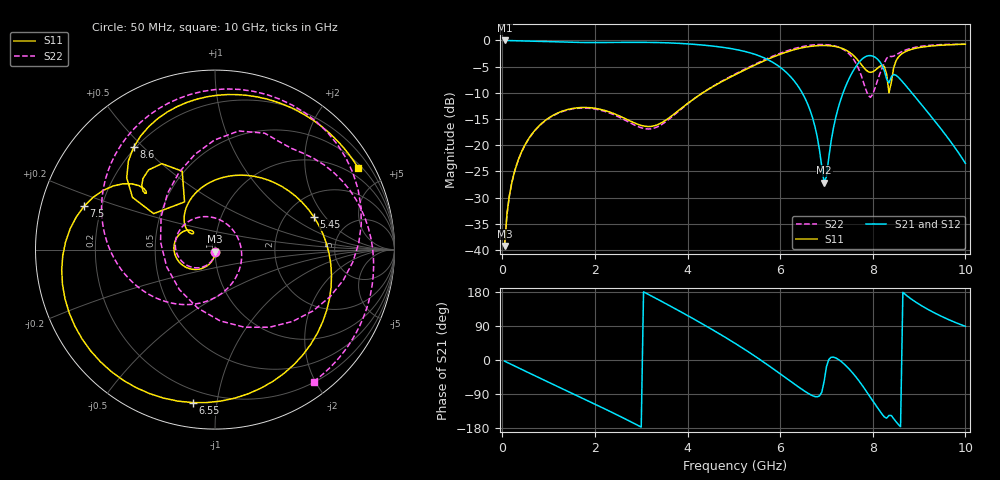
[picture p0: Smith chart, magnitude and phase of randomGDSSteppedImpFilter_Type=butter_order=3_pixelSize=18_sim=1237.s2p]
! freq	dB(S11)	phase(S11)	dB(S12)	phase(S12)
!  dB(S21)	phase(S21)	dB(S22)	phase(S22)
!S-par simulation data
#  GHz  S  DB  R 50
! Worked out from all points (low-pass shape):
!   200 points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, 50 MHz to 10 GHz, reference 50 ohm
!   highest |S21| = -0.02 dB at 50 MHz (marker M1); lowest = -27.1 dB at 6.95 GHz (marker M2)
!   |S21| within 3 dB of the highest: start of sweep to 5.565 GHz; 7.871 GHz to 8.004 GHz (133.2 MHz wide, 1.68 % of centre)
!   lowest |S11| = -39.3 dB at 50 MHz (marker M3), VSWR 1.02, Z = 50.1 - j1.09 ohm
!   |S11| at or under -10 dB: start of sweep to 4.332 GHz; 8.349626 GHz to 8.350665 GHz (1.039 MHz wide, 0.0124 % of centre)
!   |S22| runs from -39.3 to -0.7 dB; largest |S21 - S12| = 0
!   S11 on the Smith chart (normalised r, x): 50 MHz: 1.00, -0.02; 5.45 GHz: 2.82, +1.55; 6.55 GHz: 0.13, -0.86; 7.5 GHz: 0.13, +0.16; 8.6 GHz: 0.19, +0.47; 10 GHz: 0.64, +3.68
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0.05  -39.26 -85.3  -0.02 -3.0  -0.02 -3.0  -39.28 -85.5
0.2  -27.39 -97.3  -0.06 -11.9  -0.06 -11.9  -27.43 -98.4
0.5  -19.80 -116.5  -0.13 -29.6  -0.13 -29.6  -19.86 -119.2
1.75  -12.81 176.3  -0.41 -101.9  -0.41 -101.9  -12.92 160.2
2.65  -14.92 142.7  -0.38 -155.2  -0.38 -155.2  -15.22 86.9
3.4  -15.91 146.1  -0.43 157.3  -0.43 157.3  -16.28 -14.1
4.25  -10.48 119.7  -0.84 100.2  -0.84 100.2  -10.47 -102.1
5.05  -6.45 57.0  -1.75 42.2  -1.75 42.2  -6.33 -155.6
5.45  -4.73 18.4  -2.65 10.5  -2.65 10.5  -4.58 178.9
6  -2.66 -39.2  -5.13 -36.3  -5.13 -36.3  -2.46 140.1
6.55  -1.29 -98.4  -11.29 -83.9  -11.29 -83.9  -1.07 94.7
6.7  -1.10 -114.3  -14.79 -94.3  -14.79 -94.3  -0.88 81.1
6.95  -0.98 -140.8  -27.14 -56.2  -27.14 -56.2  -0.80 56.7
7.25  -1.29 -172.4  -13.01 2.1  -13.01 2.1  -1.26 22.9
7.5  -2.29 161.6  -7.09 -25.1  -7.09 -25.1  -2.67 -13.3
7.75  -4.58 141.6  -3.73 -63.1  -3.73 -63.1  -6.68 -69.1
8  -6.01 141.2  -3.00 -107.8  -3.00 -107.8  -10.28 171.9
8.25  -4.99 121.8  -5.82 -150.3  -5.82 -150.3  -4.29 90.3
8.35  -10.03 122.5  -8.12 -146.2  -8.12 -146.2  -3.03 66.9
8.6  -2.75 128.5  -7.48 -176.0  -7.48 -176.0  -2.27 37.8
9.2  -1.13 78.3  -13.86 133.0  -13.86 133.0  -0.97 -9.7
10  -0.74 29.6  -23.47 88.9  -23.47 88.9  -0.74 -53.3
